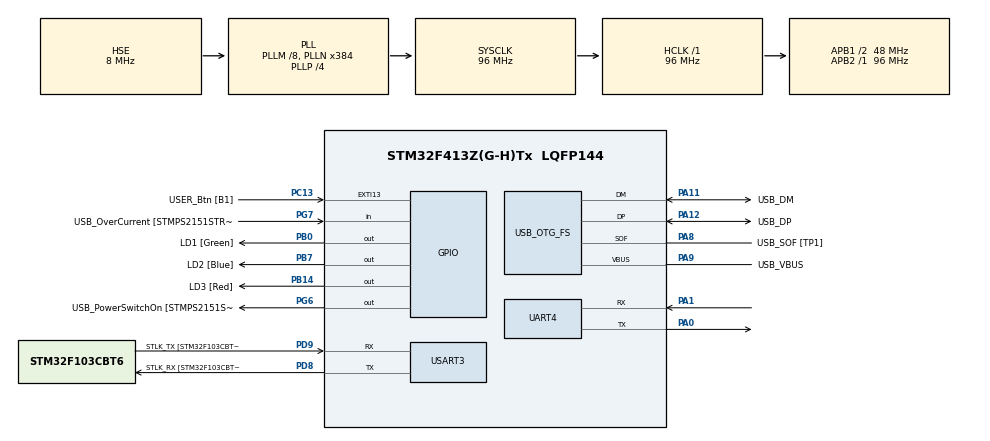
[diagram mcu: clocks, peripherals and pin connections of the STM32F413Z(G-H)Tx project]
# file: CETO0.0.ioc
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Dma.Request0=UART4_RX
Dma.Request1=UART4_TX
Dma.UART4_RX.0.Direction=DMA_PERIPH_TO_MEMORY
Dma.UART4_RX.0.FIFOMode=DMA_FIFOMODE_DISABLE
Dma.UART4_RX.0.Instance=DMA1_Stream2
Dma.UART4_RX.0.MemDataAlignment=DMA_MDATAALIGN_BYTE
Dma.UART4_RX.0.MemInc=DMA_MINC_ENABLE
Dma.UART4_RX.0.Mode=DMA_CIRCULAR
Dma.UART4_RX.0.PeriphDataAlignment=DMA_PDATAALIGN_BYTE
Dma.UART4_RX.0.PeriphInc=DMA_PINC_DISABLE
Dma.UART4_RX.0.Priority=DMA_PRIORITY_VERY_HIGH
Dma.UART4_TX.1.Direction=DMA_MEMORY_TO_PERIPH
Dma.UART4_TX.1.FIFOMode=DMA_FIFOMODE_DISABLE
Dma.UART4_TX.1.Instance=DMA1_Stream4
Dma.UART4_TX.1.MemDataAlignment=DMA_MDATAALIGN_BYTE
Dma.UART4_TX.1.MemInc=DMA_MINC_ENABLE
Dma.UART4_TX.1.Mode=DMA_NORMAL
Dma.UART4_TX.1.PeriphDataAlignment=DMA_PDATAALIGN_BYTE
Dma.UART4_TX.1.PeriphInc=DMA_PINC_DISABLE
Dma.UART4_TX.1.Priority=DMA_PRIORITY_VERY_HIGH
FREERTOS.Tasks01=defaultTask,24,3000,StartDefaultTask,Default,NULL,Static,defaultTaskBuffer,defaultTaskControlBlock
Mcu.Family=STM32F4
Mcu.Name=STM32F413Z(G-H)Tx
Mcu.Package=LQFP144
NVIC.DMA1_Stream2_IRQn=true\:5\:0\:false\:false\:true\:true\:false\:true\:true
NVIC.DMA1_Stream4_IRQn=true\:5\:0\:false\:false\:true\:true\:false\:true\:true
NVIC.PriorityGroup=NVIC_PRIORITYGROUP_4
NVIC.TIM1_UP_TIM10_IRQn=true\:15\:0\:false\:false\:true\:false\:false\:true\:true
NVIC.TimeBase=TIM1_UP_TIM10_IRQn
NVIC.TimeBaseIP=TIM1
PA0.Mode=Asynchronous
PA0.Signal=UART4_TX
PA1.Mode=Asynchronous
PA1.Signal=UART4_RX
PA10.GPIO_Label=USB_ID
PA10.Signal=USB_OTG_FS_ID
PA11.GPIO_Label=USB_DM
PA11.Mode=Device_Only
PA11.Signal=USB_OTG_FS_DM
PA12.GPIO_Label=USB_DP
PA12.Mode=Device_Only
PA12.Signal=USB_OTG_FS_DP
PA13.GPIO_Label=TMS
PA13.Mode=Serial_Wire
PA13.Signal=SYS_JTMS-SWDIO
PA14.GPIO_Label=TCK
PA14.Mode=Serial_Wire
PA14.Signal=SYS_JTCK-SWCLK
PA8.GPIO_Label=USB_SOF [TP1]
PA8.Mode=Activate_SOF_FS
PA8.Signal=USB_OTG_FS_SOF
PA9.GPIO_Label=USB_VBUS
PA9.Mode=Activate_VBUS
PA9.Signal=USB_OTG_FS_VBUS
PB0.GPIO_Label=LD1 [Green]
PB0.Signal=GPIO_Output
PB14.GPIO_Label=LD3 [Red]
PB14.Signal=GPIO_Output
PB3.GPIO_Label=SWO
PB3.Signal=SYS_JTDO-SWO
PB7.GPIO_Label=LD2 [Blue]
PB7.Signal=GPIO_Output
PC13.GPIO_Label=USER_Btn [B1]
PC13.Signal=GPXTI13
PC14-OSC32_IN.Mode=LSE-External-Oscillator
PC14-OSC32_IN.Signal=RCC_OSC32_IN
PC15-OSC32_OUT.Mode=LSE-External-Oscillator
PC15-OSC32_OUT.Signal=RCC_OSC32_OUT
PD8.GPIO_Label=STLK_RX [STM32F103CBT6_PA3]
PD8.Mode=Asynchronous
PD8.Signal=USART3_TX
PD9.GPIO_Label=STLK_TX [STM32F103CBT6_PA2]
PD9.Mode=Asynchronous
PD9.Signal=USART3_RX
PG6.GPIO_Label=USB_PowerSwitchOn [STMPS2151STR_EN]
PG6.Signal=GPIO_Output
PG7.GPIO_Label=USB_OverCurrent [STMPS2151STR_FAULT]
PG7.Signal=GPIO_Input
PH0\ -\ OSC_IN.GPIO_Label=MCO
PH0\ -\ OSC_IN.Mode=HSE-External-Clock-Source
PH0\ -\ OSC_IN.Signal=RCC_OSC_IN
PH1\ -\ OSC_OUT.Mode=HSE-External-Clock-Source
PH1\ -\ OSC_OUT.Signal=RCC_OSC_OUT
ProjectManager.HeapSize=0x200
ProjectManager.StackSize=0x400
ProjectManager.TargetToolchain=STM32CubeIDE
RCC.48MHZClocksFreq_Value=24000000
RCC.AHBFreq_Value=96000000
RCC.APB1CLKDivider=RCC_HCLK_DIV2
RCC.APB1Freq_Value=48000000
RCC.APB1TimFreq_Value=96000000
RCC.APB2Freq_Value=96000000
RCC.APB2TimFreq_Value=96000000
RCC.CortexFreq_Value=96000000
RCC.HCLKFreq_Value=96000000
RCC.HSE_VALUE=8000000
RCC.HSI_VALUE=16000000
RCC.PLLM=8
RCC.PLLMUL=RCC_PLL_MUL9
RCC.PLLN=384
RCC.PLLP=RCC_PLLP_DIV4
RCC.PLLQ=8
RCC.PRESCALERUSB=RCC_USBCLKSOURCE_PLL_DIV1_5
RCC.SYSCLKFreq_VALUE=96000000
RCC.SYSCLKSource=RCC_SYSCLKSOURCE_PLLCLK
RCC.SYSCLKSourceVirtual=RCC_SYSCLKSOURCE_PLLCLK
RCC.USBFreq_Value=48000000
RCC.VCOOutputFreq_Value=384000000
UART4.VirtualMode=Asynchronous
USART3.VirtualMode=VM_ASYNC
USB_OTG_FS.VirtualMode=Device_Only
VP_FREERTOS_VS_CMSIS_V2.Mode=CMSIS_V2
VP_SYS_VS_tim1.Mode=TIM1
board=NUCLEO-F413ZH

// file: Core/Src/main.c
/* USER CODE BEGIN Header */
/**
  ******************************************************************************
  * @file           : main.c
  * @brief          : Main program body
  ******************************************************************************
  * @attention
  *
  * Copyright (c) 2025 STMicroelectronics.
  * All rights reserved.
  *
  * This software is licensed under terms that can be found in the LICENSE file
  * in the root directory of this software component.
  * If no LICENSE file comes with this software, it is provided AS-IS.
  *
  ******************************************************************************
  */
/* USER CODE END Header */
#include "main.h"
#include "cmsis_os.h"

/* USER CODE BEGIN Includes */

#include <rcl/rcl.h>
#include <rcl/error_handling.h>
#include <rclc/rclc.h>
#include <rclc/executor.h>
#include <uxr/client/transport.h>
#include <rmw_microxrcedds_c/config.h>
#include <rmw_microros/rmw_microros.h>

#include <std_msgs/msg/int32.h>

// RCL return Check
#define RCCHECK(fn) { rcl_ret_t temp_rc = fn; if((temp_rc != RCL_RET_OK)){error_loop();}}
#define RCSOFTCHECK(fn) { rcl_ret_t temp_rc = fn; if((temp_rc != RCL_RET_OK)){error_loop();}}
/* USER CODE END Includes */

typedef StaticTask_t osStaticThreadDef_t;

UART_HandleTypeDef huart4;
UART_HandleTypeDef huart3;
DMA_HandleTypeDef hdma_uart4_rx;
DMA_HandleTypeDef hdma_uart4_tx;

PCD_HandleTypeDef hpcd_USB_OTG_FS;

/* Definitions for defaultTask */
osThreadId_t defaultTaskHandle;
uint32_t defaultTaskBuffer[ 3000 ];
osStaticThreadDef_t defaultTaskControlBlock;
const osThreadAttr_t defaultTask_attributes = {
  .name = "defaultTask",
  .cb_mem = &defaultTaskControlBlock,
  .cb_size = sizeof(defaultTaskControlBlock),
  .stack_mem = &defaultTaskBuffer[0],
  .stack_size = sizeof(defaultTaskBuffer),
  .priority = (osPriority_t) osPriorityNormal,
};

void SystemClock_Config(void);
static void MX_GPIO_Init(void);
static void MX_DMA_Init(void);
static void MX_USART3_UART_Init(void);
static void MX_USB_OTG_FS_PCD_Init(void);
static void MX_UART4_Init(void);
void StartDefaultTask(void *argument);

int main(void)
{

  /* MCU Configuration--------------------------------------------------------*/

  /* Reset of all peripherals, Initializes the Flash interface and the Systick. */
  HAL_Init();

  /* Configure the system clock */
  SystemClock_Config();

  /* Initialize all configured peripherals */
  MX_GPIO_Init();
  MX_DMA_Init();
  MX_USART3_UART_Init();
  MX_USB_OTG_FS_PCD_Init();
  MX_UART4_Init();

  /* Init scheduler */
  osKernelInitialize();

  /* Create the thread(s) */
  /* creation of defaultTask */
  defaultTaskHandle = osThreadNew(StartDefaultTask, NULL, &defaultTask_attributes);

  /* Start scheduler */
  osKernelStart();

  /* We should never get here as control is now taken by the scheduler */

  /* Infinite loop */
  while (1)
  {

  }
}

void SystemClock_Config(void)
{
  RCC_OscInitTypeDef RCC_OscInitStruct = {0};
  RCC_ClkInitTypeDef RCC_ClkInitStruct = {0};

  /** Configure the main internal regulator output voltage
  */
  __HAL_RCC_PWR_CLK_ENABLE();
  __HAL_PWR_VOLTAGESCALING_CONFIG(PWR_REGULATOR_VOLTAGE_SCALE1);

  /** Initializes the RCC Oscillators according to the specified parameters
  * in the RCC_OscInitTypeDef structure.
  */
  RCC_OscInitStruct.OscillatorType = RCC_OSCILLATORTYPE_HSE;
  RCC_OscInitStruct.HSEState = RCC_HSE_BYPASS;
  RCC_OscInitStruct.PLL.PLLState = RCC_PLL_ON;
  RCC_OscInitStruct.PLL.PLLSource = RCC_PLLSOURCE_HSE;
  RCC_OscInitStruct.PLL.PLLM = 8;
  RCC_OscInitStruct.PLL.PLLN = 384;
  RCC_OscInitStruct.PLL.PLLP = RCC_PLLP_DIV4;
  RCC_OscInitStruct.PLL.PLLQ = 8;
  RCC_OscInitStruct.PLL.PLLR = 2;
  if (HAL_RCC_OscConfig(&RCC_OscInitStruct) != HAL_OK)
  {
    Error_Handler();
  }

  /** Initializes the CPU, AHB and APB buses clocks
  */
  RCC_ClkInitStruct.ClockType = RCC_CLOCKTYPE_HCLK|RCC_CLOCKTYPE_SYSCLK
                              |RCC_CLOCKTYPE_PCLK1|RCC_CLOCKTYPE_PCLK2;
  RCC_ClkInitStruct.SYSCLKSource = RCC_SYSCLKSOURCE_PLLCLK;
  RCC_ClkInitStruct.AHBCLKDivider = RCC_SYSCLK_DIV1;
  RCC_ClkInitStruct.APB1CLKDivider = RCC_HCLK_DIV2;
  RCC_ClkInitStruct.APB2CLKDivider = RCC_HCLK_DIV1;

  if (HAL_RCC_ClockConfig(&RCC_ClkInitStruct, FLASH_LATENCY_3) != HAL_OK)
  {
    Error_Handler();
  }
}

static void MX_UART4_Init(void)
{

  huart4.Instance = UART4;
  huart4.Init.BaudRate = 115200;
  huart4.Init.WordLength = UART_WORDLENGTH_8B;
  huart4.Init.StopBits = UART_STOPBITS_1;
  huart4.Init.Parity = UART_PARITY_NONE;
  huart4.Init.Mode = UART_MODE_TX_RX;
  huart4.Init.HwFlowCtl = UART_HWCONTROL_NONE;
  huart4.Init.OverSampling = UART_OVERSAMPLING_16;
  if (HAL_UART_Init(&huart4) != HAL_OK)
  {
    Error_Handler();
  }

}

static void MX_USART3_UART_Init(void)
{

  huart3.Instance = USART3;
  huart3.Init.BaudRate = 115200;
  huart3.Init.WordLength = UART_WORDLENGTH_8B;
  huart3.Init.StopBits = UART_STOPBITS_1;
  huart3.Init.Parity = UART_PARITY_NONE;
  huart3.Init.Mode = UART_MODE_TX_RX;
  huart3.Init.HwFlowCtl = UART_HWCONTROL_NONE;
  huart3.Init.OverSampling = UART_OVERSAMPLING_16;
  if (HAL_UART_Init(&huart3) != HAL_OK)
  {
    Error_Handler();
  }

}

static void MX_USB_OTG_FS_PCD_Init(void)
{

  hpcd_USB_OTG_FS.Instance = USB_OTG_FS;
  hpcd_USB_OTG_FS.Init.dev_endpoints = 6;
  hpcd_USB_OTG_FS.Init.speed = PCD_SPEED_FULL;
  hpcd_USB_OTG_FS.Init.dma_enable = DISABLE;
  hpcd_USB_OTG_FS.Init.phy_itface = PCD_PHY_EMBEDDED;
  hpcd_USB_OTG_FS.Init.Sof_enable = ENABLE;
  hpcd_USB_OTG_FS.Init.low_power_enable = DISABLE;
  hpcd_USB_OTG_FS.Init.lpm_enable = DISABLE;
  hpcd_USB_OTG_FS.Init.battery_charging_enable = ENABLE;
  hpcd_USB_OTG_FS.Init.vbus_sensing_enable = ENABLE;
  hpcd_USB_OTG_FS.Init.use_dedicated_ep1 = DISABLE;
  if (HAL_PCD_Init(&hpcd_USB_OTG_FS) != HAL_OK)
  {
    Error_Handler();
  }

}

static void MX_DMA_Init(void)
{

  /* DMA controller clock enable */
  __HAL_RCC_DMA1_CLK_ENABLE();

  /* DMA interrupt init */
  /* DMA1_Stream2_IRQn interrupt configuration */
  HAL_NVIC_SetPriority(DMA1_Stream2_IRQn, 5, 0);
  HAL_NVIC_EnableIRQ(DMA1_Stream2_IRQn);
  /* DMA1_Stream4_IRQn interrupt configuration */
  HAL_NVIC_SetPriority(DMA1_Stream4_IRQn, 5, 0);
  HAL_NVIC_EnableIRQ(DMA1_Stream4_IRQn);

}

static void MX_GPIO_Init(void)
{
  GPIO_InitTypeDef GPIO_InitStruct = {0};

  /* GPIO Ports Clock Enable */
  __HAL_RCC_GPIOC_CLK_ENABLE();
  __HAL_RCC_GPIOH_CLK_ENABLE();
  __HAL_RCC_GPIOA_CLK_ENABLE();
  __HAL_RCC_GPIOB_CLK_ENABLE();
  __HAL_RCC_GPIOD_CLK_ENABLE();
  __HAL_RCC_GPIOG_CLK_ENABLE();

  /*Configure GPIO pin Output Level */
  HAL_GPIO_WritePin(GPIOB, LD1_Pin|LD3_Pin|LD2_Pin, GPIO_PIN_RESET);

  /*Configure GPIO pin Output Level */
  HAL_GPIO_WritePin(USB_PowerSwitchOn_GPIO_Port, USB_PowerSwitchOn_Pin, GPIO_PIN_RESET);

  /*Configure GPIO pin : USER_Btn_Pin */
  GPIO_InitStruct.Pin = USER_Btn_Pin;
  GPIO_InitStruct.Mode = GPIO_MODE_IT_RISING;
  GPIO_InitStruct.Pull = GPIO_NOPULL;
  HAL_GPIO_Init(USER_Btn_GPIO_Port, &GPIO_InitStruct);

  /*Configure GPIO pins : LD1_Pin LD3_Pin LD2_Pin */
  GPIO_InitStruct.Pin = LD1_Pin|LD3_Pin|LD2_Pin;
  GPIO_InitStruct.Mode = GPIO_MODE_OUTPUT_PP;
  GPIO_InitStruct.Pull = GPIO_NOPULL;
  GPIO_InitStruct.Speed = GPIO_SPEED_FREQ_LOW;
  HAL_GPIO_Init(GPIOB, &GPIO_InitStruct);

  /*Configure GPIO pin : USB_PowerSwitchOn_Pin */
  GPIO_InitStruct.Pin = USB_PowerSwitchOn_Pin;
  GPIO_InitStruct.Mode = GPIO_MODE_OUTPUT_PP;
  GPIO_InitStruct.Pull = GPIO_NOPULL;
  GPIO_InitStruct.Speed = GPIO_SPEED_FREQ_LOW;
  HAL_GPIO_Init(USB_PowerSwitchOn_GPIO_Port, &GPIO_InitStruct);

  /*Configure GPIO pin : USB_OverCurrent_Pin */
  GPIO_InitStruct.Pin = USB_OverCurrent_Pin;
  GPIO_InitStruct.Mode = GPIO_MODE_INPUT;
  GPIO_InitStruct.Pull = GPIO_NOPULL;
  HAL_GPIO_Init(USB_OverCurrent_GPIO_Port, &GPIO_InitStruct);

}

/* USER CODE BEGIN 4 */
bool cubemx_transport_open(struct uxrCustomTransport * transport);
bool cubemx_transport_close(struct uxrCustomTransport * transport);
size_t cubemx_transport_write(struct uxrCustomTransport* transport, const uint8_t * buf, size_t len, uint8_t * err);
size_t cubemx_transport_read(struct uxrCustomTransport* transport, uint8_t* buf, size_t len, int timeout, uint8_t* err);

void * microros_allocate(size_t size, void * state);
void microros_deallocate(void * pointer, void * state);
void * microros_reallocate(void * pointer, size_t size, void * state);
void * microros_zero_allocate(size_t number_of_elements, size_t size_of_element, void * state);
/* USER CODE END 4 */

void StartDefaultTask(void *argument)
{
  /* USER CODE BEGIN 5 */
	// To check if the code has been flashed successfully
	for (int i = 0; i < 8; i ++) {
		/*HAL_GPIO_WritePin(LD2_GPIO_Port, LD2_Pin, GPIO_PIN_SET);
		HAL_Delay(100);
		HAL_GPIO_WritePin(LD2_GPIO_Port, LD2_Pin, GPIO_PIN_RESET);*/
		HAL_GPIO_TogglePin(LD2_GPIO_Port, LD2_Pin);
		HAL_Delay(100);
	}

	// micro-ROS configuration
	  /*rmw_uros_set_custom_transport(
	    true,
	    (void *) &huart4,
	    cubemx_transport_open,
	    cubemx_transport_close,
	    cubemx_transport_write,
	    cubemx_transport_read);

	  rcl_allocator_t freeRTOS_allocator = rcutils_get_zero_initialized_allocator();
	  freeRTOS_allocator.allocate = microros_allocate;
	  freeRTOS_allocator.deallocate = microros_deallocate;
	  freeRTOS_allocator.reallocate = microros_reallocate;
	  freeRTOS_allocator.zero_allocate =  microros_zero_allocate;

	  if (!rcutils_set_default_allocator(&freeRTOS_allocator)) {
	      printf("Error on default allocators (line %d)\n", __LINE__);
	  }*/

	  // micro-ROS app

	  /*rcl_publisher_t publisher;
	  std_msgs__msg__Int32 msg;
	  rclc_support_t support;
	  rcl_allocator_t allocator;
	  rcl_node_t node;*/

	  /*HAL_Delay(1000);
	  for (int i = 0; i < 8; i ++) {
	  		HAL_GPIO_WritePin(LD2_GPIO_Port, LD2_Pin, GPIO_PIN_SET);
	  		HAL_Delay(100);
	  		HAL_GPIO_WritePin(LD2_GPIO_Port, LD2_Pin, GPIO_PIN_RESET);
	  		HAL_GPIO_TogglePin(LD2_GPIO_Port, LD2_Pin);
	  		HAL_Delay(100);
	  }*/

	  // allocator = rcl_get_default_allocator();

	  /*HAL_Delay(1000);
	  for (int i = 0; i < 10; i ++) {
			HAL_GPIO_WritePin(LD2_GPIO_Port, LD2_Pin, GPIO_PIN_SET);
			HAL_Delay(100);
			HAL_GPIO_WritePin(LD2_GPIO_Port, LD2_Pin, GPIO_PIN_RESET);
			HAL_GPIO_TogglePin(LD2_GPIO_Port, LD2_Pin);
			HAL_Delay(100);
	  }*/

	  //create init_options
	  // rclc_support_init(&support, 0, NULL, &allocator);

	  /*HAL_Delay(1000);
	  for (int i = 0; i < 12; i ++) {
			HAL_GPIO_WritePin(LD2_GPIO_Port, LD2_Pin, GPIO_PIN_SET);
			HAL_Delay(100);
			HAL_GPIO_WritePin(LD2_GPIO_Port, LD2_Pin, GPIO_PIN_RESET);
			HAL_GPIO_TogglePin(LD2_GPIO_Port, LD2_Pin);
			HAL_Delay(100);
	  }*/

	  // create node
	  // rclc_node_init_default(&node, "cubemx_node", "", &support);

	  /*HAL_Delay(1000);
	  for (int i = 0; i < 14; i ++) {
			HAL_GPIO_WritePin(LD2_GPIO_Port, LD2_Pin, GPIO_PIN_SET);
			HAL_Delay(100);
			HAL_GPIO_WritePin(LD2_GPIO_Port, LD2_Pin, GPIO_PIN_RESET);
			HAL_GPIO_TogglePin(LD2_GPIO_Port, LD2_Pin);
			HAL_Delay(100);
	  }*/

	  // create publisher
	  /*rclc_publisher_init_default(
	    &publisher,
	    &node,
	    ROSIDL_GET_MSG_TYPE_SUPPORT(std_msgs, msg, Int32),
	    "cubemx_publisher");*/

	  /*HAL_Delay(1000);
	  for (int i = 0; i < 16; i ++) {
			HAL_GPIO_WritePin(LD2_GPIO_Port, LD2_Pin, GPIO_PIN_SET);
			HAL_Delay(100);
			HAL_GPIO_WritePin(LD2_GPIO_Port, LD2_Pin, GPIO_PIN_RESET);
			HAL_GPIO_TogglePin(LD2_GPIO_Port, LD2_Pin);
			HAL_Delay(100);
	  }*/

	  /*msg.data = 0;

	  for(;;)
	  {
	    rcl_ret_t ret = rcl_publish(&publisher, &msg, NULL);
	    if (ret != RCL_RET_OK)
	    {
	      printf("Error publishing (line %d)\n", __LINE__);
	    }

	    msg.data++;
	    osDelay(500);
	    HAL_GPIO_TogglePin(LD1_GPIO_Port, LD1_Pin);
	  }*/
  /* USER CODE END 5 */
}

void HAL_TIM_PeriodElapsedCallback(TIM_HandleTypeDef *htim)
{
  if (htim->Instance == TIM1)
  {
    HAL_IncTick();
  }
}

void Error_Handler(void)
{
  __disable_irq();
  while (1)
  {
  }
}
